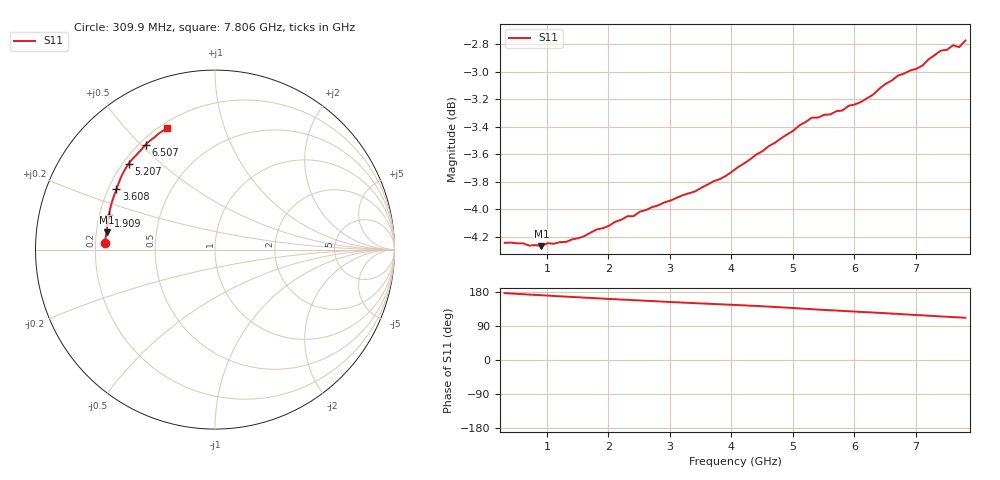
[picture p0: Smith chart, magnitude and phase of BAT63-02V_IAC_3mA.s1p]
! Infineon Technologies  Discrete & RF Semiconductors
! BAT63-02V
! IAC = 3 mA
! One-Port S-Parameters
# Hz  S  MA  R  50
!f  S11
!Hz  Mag  Ang
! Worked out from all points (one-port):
!   76 points, 309.9 MHz to 7.806 GHz, reference 50 ohm
!   lowest |S11| = -4.3 dB at 909.5 MHz (marker M1), VSWR 4.15, Z = 12.1 + j3.76 ohm
!   |S11| at or under -10 dB: nowhere
!   S11 on the Smith chart (normalised r, x): 309.9 MHz: 0.24, +0.03; 1.909 GHz: 0.24, +0.15; 3.608 GHz: 0.23, +0.27; 5.207 GHz: 0.22, +0.39; 6.507 GHz: 0.22, +0.52; 7.806 GHz: 0.23, +0.66
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3.0985e8  0.6135 176.5
9.0955e8  0.6118 170.9
1.30935e9  0.6139 167.3
1.8091e9  0.6204 162.8
1.90905e9  0.6211 162.2
2.009e9  0.6223 161.0
2.10895e9  0.6244 160.5
2.2089e9  0.6255 159.4
2.30885e9  0.6273 158.9
3.2084e9  0.6385 151.5
3.6082e9  0.6441 148.6
4.10795e9  0.6537 144.9
4.4078e9  0.6607 142.6
5.0075e9  0.674 137.2
5.2074e9  0.6789 135.2
5.50725e9  0.683 132.2
6.007e9  0.6889 127.8
6.50675e9  0.7009 123.5
6.70665e9  0.7057 121.7
6.90655e9  0.7087 119.7
7.0065e9  0.7098 118.6
7.10645e9  0.7117 118.0
7.2064e9  0.7154 116.8
7.30635e9  0.718 116.1
7.4063e9  0.7207 114.9
7.6062e9  0.724 113.2
7.70615e9  0.7228 112.3
7.8061e9  0.7269 111.5
